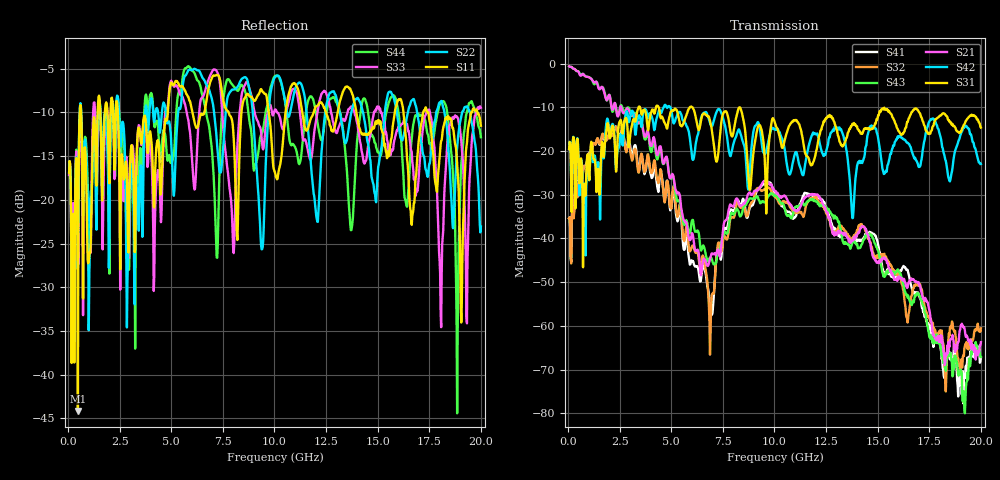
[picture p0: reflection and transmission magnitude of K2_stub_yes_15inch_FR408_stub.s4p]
! FILE: D:\users\goganessyan\Molex Channels for Eric\15inch_FR408_stub.s4p
# MHz S MA R 50.00
! FREQ  S11  S12  S13  S14
!  S21  S22  S23  S24
!  S31  S32  S33  S34
!  S41  S42  S43  S44
!  MAG  ANG  MAG  ANG  MAG  ANG  MAG  ANG
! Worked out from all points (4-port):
!   799 points, 50 MHz to 20 GHz, reference 50 ohm
!   strongest paths, dB at 50 MHz, 5.025 GHz, 10.03 GHz, 15.03 GHz, 20 GHz:
!     S31: -19.5, -10.7, -13.7, -11.8, -14.6
!     S42: -19.5, -11.2, -14.9, -17.1, -23.0
!     S21: -0.6, -25.6, -29.2, -45.4, -63.7
!     S43: -0.6, -26.1, -30.2, -42.7, -67.1
!     S32: -35.4, -32.0, -30.5, -43.8, -60.6
!     S41: -35.3, -32.2, -29.4, -41.5, -67.4
!   lowest |S11| = -44.1 dB at 475 MHz (marker M1), VSWR 1.01, Z = 50.3 - j0.57 ohm
!   |S11| at or under -10 dB: 2.409 GHz to 4.832 GHz (2.423 GHz wide, 66.9 % of centre); 13.97 GHz to 15.83 GHz (1.86 GHz wide, 12.5 % of centre); 17.45 GHz to 19.52 GHz (2.071 GHz wide, 11.2 % of centre)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
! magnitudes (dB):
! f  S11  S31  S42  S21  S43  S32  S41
! 50 MHz  -16.9  -19.5  -19.5  -0.6  -0.6  -35.4  -35.3
! 475 MHz  -44.1  -18.2  -18.1  -1.7  -1.7  -30.0  -29.3
! 6.45 GHz  -10.1  -12.8  -12.3  -48.3  -42.8  -45.6  -48.9
! 11.9 GHz  -10.0  -22.3  -16.1  -29.8  -31.4  -30.7  -30.3
! 18.23 GHz  -11.3  -11.4  -20.8  -66.9  -68.3  -67.9  -71.9
! 18.85 GHz  -15.9  -15.5  -18.7  -65.3  -68.6  -66.1  -72.4
! 20 GHz  -11.5  -14.6  -23.0  -63.7  -67.1  -60.6  -67.4
